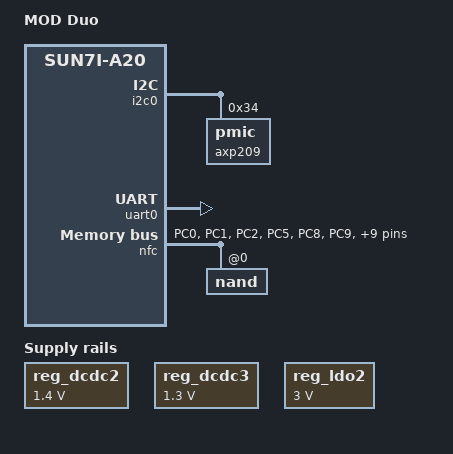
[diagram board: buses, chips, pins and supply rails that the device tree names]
/*
 * Copyright 2015 - Marcus Cooper <codekipper@gmail.com>
 * Copyright 2020 - Filipe Coelho <falktx@falktx.com>
 *
 * This file is dual-licensed: you can use it either under the terms
 * of the GPL or the X11 license, at your option. Note that this dual
 * licensing only applies to this file, and not this project as a
 * whole.
 *
 *  a) This file is free software; you can redistribute it and/or
 *     modify it under the terms of the GNU General Public License as
 *     published by the Free Software Foundation; either version 2 of the
 *     License, or (at your option) any later version.
 *
 *     This file is distributed in the hope that it will be useful,
 *     but WITHOUT ANY WARRANTY; without even the implied warranty of
 *     MERCHANTABILITY or FITNESS FOR A PARTICULAR PURPOSE.  See the
 *     GNU General Public License for more details.
 *
 * Or, alternatively,
 *
 *  b) Permission is hereby granted, free of charge, to any person
 *     obtaining a copy of this software and associated documentation
 *     files (the "Software"), to deal in the Software without
 *     restriction, including without limitation the rights to use,
 *     copy, modify, merge, publish, distribute, sublicense, and/or
 *     sell copies of the Software, and to permit persons to whom the
 *     Software is furnished to do so, subject to the following
 *     conditions:
 *
 *     The above copyright notice and this permission notice shall be
 *     included in all copies or substantial portions of the Software.
 *
 *     THE SOFTWARE IS PROVIDED "AS IS", WITHOUT WARRANTY OF ANY KIND,
 *     EXPRESS OR IMPLIED, INCLUDING BUT NOT LIMITED TO THE WARRANTIES
 *     OF MERCHANTABILITY, FITNESS FOR A PARTICULAR PURPOSE AND
 *     NONINFRINGEMENT. IN NO EVENT SHALL THE AUTHORS OR COPYRIGHT
 *     HOLDERS BE LIABLE FOR ANY CLAIM, DAMAGES OR OTHER LIABILITY,
 *     WHETHER IN AN ACTION OF CONTRACT, TORT OR OTHERWISE, ARISING
 *     FROM, OUT OF OR IN CONNECTION WITH THE SOFTWARE OR THE USE OR
 *     OTHER DEALINGS IN THE SOFTWARE.
 */

/dts-v1/;
#include "sun7i-a20.dtsi"
#include "sunxi-common-regulators.dtsi"

/ {
	model = "MOD Duo";
	compatible = "allwinner,sun7i-a20";

	aliases {
		serial0 = &uart0;
	};

	chosen {
		stdout-path = "serial0:115200n8";
	};
};

&cpu0 {
	cpu-supply = <&reg_dcdc2>;
	clock-frequency = <912000000>;
};

&i2c0 {
	status = "okay";

	axp209: pmic@34 {
		reg = <0x34>;
		interrupt-parent = <&nmi_intc>;
		interrupts = <0 IRQ_TYPE_LEVEL_LOW>;
	};
};

#include "axp209.dtsi"

&reg_dcdc2 {
	regulator-always-on;
	regulator-min-microvolt = <1400000>;
	regulator-max-microvolt = <1400000>;
	regulator-name = "vdd-cpu";
};

&reg_dcdc3 {
	regulator-always-on;
	regulator-min-microvolt = <1300000>;
	regulator-max-microvolt = <1300000>;
	regulator-name = "vdd-int-dll";
};

&reg_ldo2 {
	regulator-always-on;
	regulator-min-microvolt = <3000000>;
	regulator-max-microvolt = <3000000>;
	regulator-name = "avcc";
};

&uart0 {
	status = "okay";
};

/* NAND support */
&pio {
	nand_pins_a: nand_pins@0 {
		pins = "PC0", "PC1", "PC2",
				"PC5", "PC8", "PC9", "PC10",
				"PC11", "PC12", "PC13", "PC14",
				"PC15", "PC16";
		function = "nand0";
	};

	nand_cs0_pins_a: nand_cs@0 {
		pins = "PC4";
		function = "nand0";
	};

	nand_rb0_pins_a: nand_rb@0 {
		pins = "PC6";
		function = "nand0";
	};
};

&nfc {
	#address-cells = <1>;
	#size-cells = <0>;
	pinctrl-names = "default";
	pinctrl-0 = <&nand_pins_a>, <&nand_cs0_pins_a>, <&nand_rb0_pins_a>;
	status = "okay";

	nand@0 {
		reg = <0>;
		allwinner,rb = <0>;
		nand-ecc-mode = "hw";
		nand-on-flash-bbt;
	};
};
